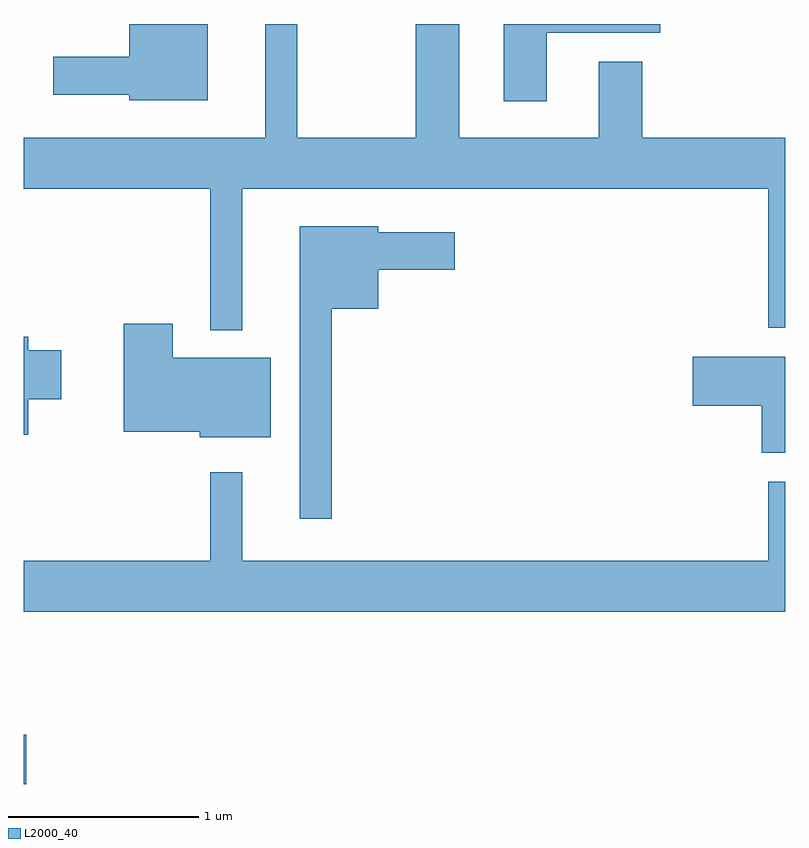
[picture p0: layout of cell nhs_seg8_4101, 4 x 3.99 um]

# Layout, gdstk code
import gdstk
lib = gdstk.Library(unit=1e-6, precision=1e-09)
def R(c, l, rs):  # rectangles x0, y0, x1, y1
    for r in rs: c.add(gdstk.rectangle(r[:2], r[2:], *l))
def P(c, l, *ps):  # polygons
    for p in ps: c.add(gdstk.Polygon(p, *l))
L2000_40 = (2000, 40)

nhs_seg8_4101 = lib.new_cell('nhs_seg8_4101')
R(nhs_seg8_4101, L2000_40, [(307.611,1884.351,307.624,1884.609)])
P(nhs_seg8_4101, L2000_40, [(308.759,1887.476),(311.521,1887.476),(311.521,1886.746),(311.611,1886.746),(311.611,1887.744),(310.859,1887.744),(310.859,1888.144),(310.631,1888.144),(310.631,1887.744),(309.899,1887.744),(309.899,1888.342),(309.671,1888.342),(309.671,1887.744),(309.049,1887.744),(309.049,1888.342),(308.881,1888.342),(308.881,1887.744),(307.611,1887.744),(307.611,1887.476),(308.591,1887.476),(308.591,1886.733),(308.759,1886.733)],
  [(310.359,1888.296),(310.954,1888.296),(310.954,1888.342),(310.131,1888.342),(310.131,1887.936),(310.359,1887.936)],
  [(308.579,1888.342),(308.166,1888.342),(308.166,1888.169),(307.766,1888.169),(307.766,1887.971),(308.166,1887.971),(308.166,1887.941),(308.579,1887.941)],
  [(309.229,1886.846),(309.474,1886.846),(309.474,1887.051),(309.874,1887.051),(309.874,1887.249),(309.474,1887.249),(309.474,1887.279),(309.061,1887.279),(309.061,1885.743),(309.229,1885.743)],
  [(308.909,1886.589),(308.394,1886.589),(308.394,1886.769),(308.136,1886.769),(308.136,1886.201),(308.536,1886.201),(308.536,1886.171),(308.909,1886.171)],
  [(307.634,1886.371),(307.809,1886.371),(307.809,1886.629),(307.634,1886.629),(307.634,1886.699),(307.611,1886.699),(307.611,1886.186),(307.634,1886.186)],
  [(311.611,1886.594),(311.126,1886.594),(311.126,1886.336),(311.486,1886.336),(311.486,1886.091),(311.611,1886.091)],
  [(311.611,1885.939),(311.521,1885.939),(311.521,1885.524),(308.759,1885.524),(308.759,1885.988),(308.591,1885.988),(308.591,1885.524),(307.611,1885.524),(307.611,1885.256),(311.611,1885.256)])

lib.write_gds('nhs_seg8_4101.gds')
